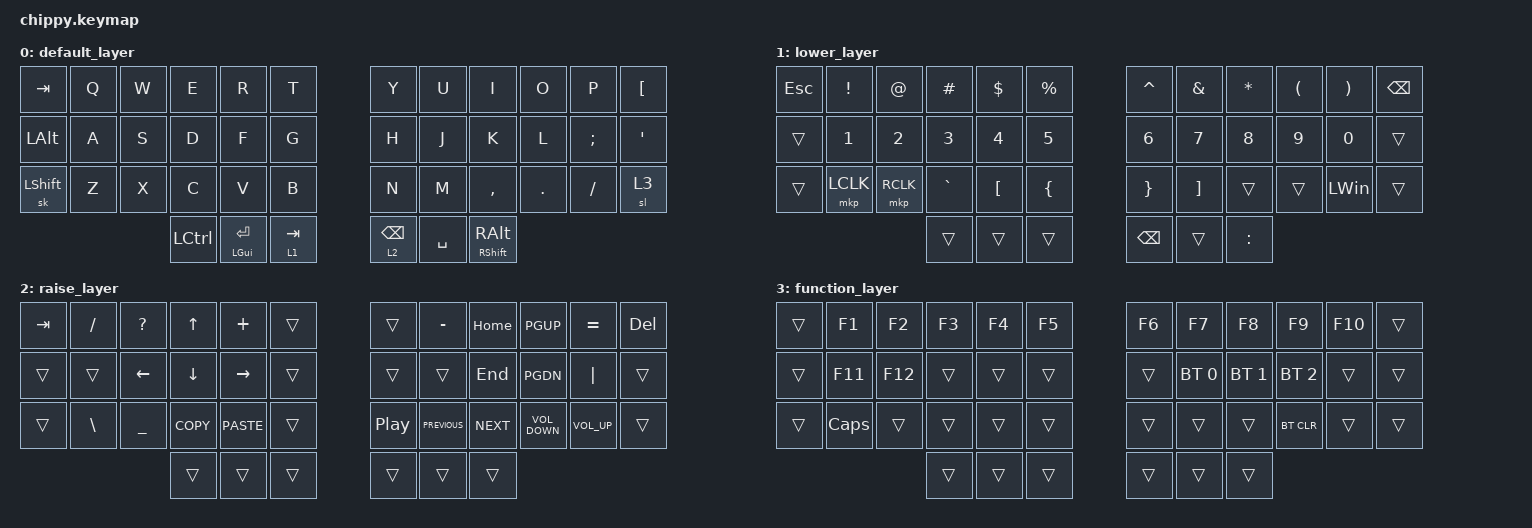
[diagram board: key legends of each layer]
/*
 * Copyright (c) 2020 The ZMK Contributors
 *
 * SPDX-License-Identifier: MIT
 * Nova linha, sem utilidade
 */

#include <behaviors.dtsi>
#include <dt-bindings/zmk/keys.h>
#include <dt-bindings/zmk/bt.h>
#include <dt-bindings/zmk/mouse.h>

/ {
    behaviors {
        rars:ralt_rshift {
            compatible = "zmk,behavior-hold-tap";
            #binding-cells = <2>;
            flavor = "balanced";
            tapping-term-ms = <250>;
            bindings = <&kp>, <&sk>;
        };
    };
};      

/ {
    combos { compatible = "zmk,combos"; };

    keymap {
        compatible = "zmk,keymap";

        default_layer {
            bindings = <
                &kp TAB     &kp Q   &kp W   &kp E   &kp R   &kp T          &kp Y   &kp U   &kp I      &kp O   &kp P      &kp LBKT
                &kp LALT    &kp A   &kp S   &kp D   &kp F   &kp G          &kp H   &kp J   &kp K      &kp L   &kp SEMI   &kp SINGLE_QUOTE
                &sk LSHIFT  &kp Z   &kp X   &kp C   &kp V   &kp B          &kp N   &kp M   &kp COMMA  &kp DOT &kp SLASH  &sl 3
                         &kp LCTRL  &mt LEFT_GUI ENTER  &lt 1 TAB    &lt 2 BACKSPACE  &kp SPACE  &rars RSHIFT RALT
            >;
        };

        lower_layer {
            bindings = <
&kp ESC &kp EXCLAMATION  &kp AT_SIGN   &kp POUND     &kp DOLLAR        &kp PERCENT       &kp CARET        &kp AMPERSAND      &kp ASTERISK  &kp LEFT_PARENTHESIS  &kp RIGHT_PARENTHESIS  &kp BSPC
&trans  &kp NUMBER_1     &kp NUMBER_2  &kp NUMBER_3  &kp NUMBER_4      &kp NUMBER_5      &kp NUMBER_6     &kp NUMBER_7       &kp NUMBER_8  &kp NUMBER_9          &kp NUMBER_0           &trans
&trans  &mkp LCLK        &mkp RCLK     &kp GRAVE     &kp LEFT_BRACKET  &kp LEFT_BRACE    &kp RIGHT_BRACE  &kp RIGHT_BRACKET  &trans        &trans                &kp LEFT_WIN           &trans
                                       &trans        &trans            &trans            &kp BACKSPACE    &trans             &kp COLON
            >;
        };

        raise_layer {
            bindings = <
                &kp TAB    &kp SLASH   &kp QUESTION   &kp UP      &kp PLUS     &trans       &trans     &kp MINUS &kp HOME  &kp PGUP  &kp EQUAL   &kp DELETE
                &trans     &trans      &kp LEFT       &kp DOWN    &kp RIGHT    &trans       &trans     &trans    &kp END   &kp PGDN  &kp PIPE    &trans      
                &trans     &kp BSLH    &kp UNDERSCORE &kp K_COPY  &kp K_PASTE  &trans       &kp C_PLAY_PAUSE   &kp C_PREVIOUS    &kp C_NEXT  &kp C_VOLUME_DOWN    &kp C_VOLUME_UP &trans
                                                    &trans  &trans &trans    &trans &trans &trans

            >;
        };

        function_layer {
            bindings = <
                &trans  &kp F1    &kp F2           &kp F3           &kp F4          &kp F5          &kp F6          &kp F7        &kp F8         &kp F9       &kp F10          &trans
                &trans  &kp F11   &kp F12          &trans           &trans          &trans          &trans          &bt BT_SEL 0  &bt BT_SEL 1   &bt BT_SEL 2 &trans           &trans
                &trans  &kp CAPS  &trans           &trans           &trans          &trans          &trans          &trans        &trans         &bt BT_CLR   &trans           &trans
                                                                    &trans  &trans  &trans          &trans &trans &trans


            >;
        };
    };
};

